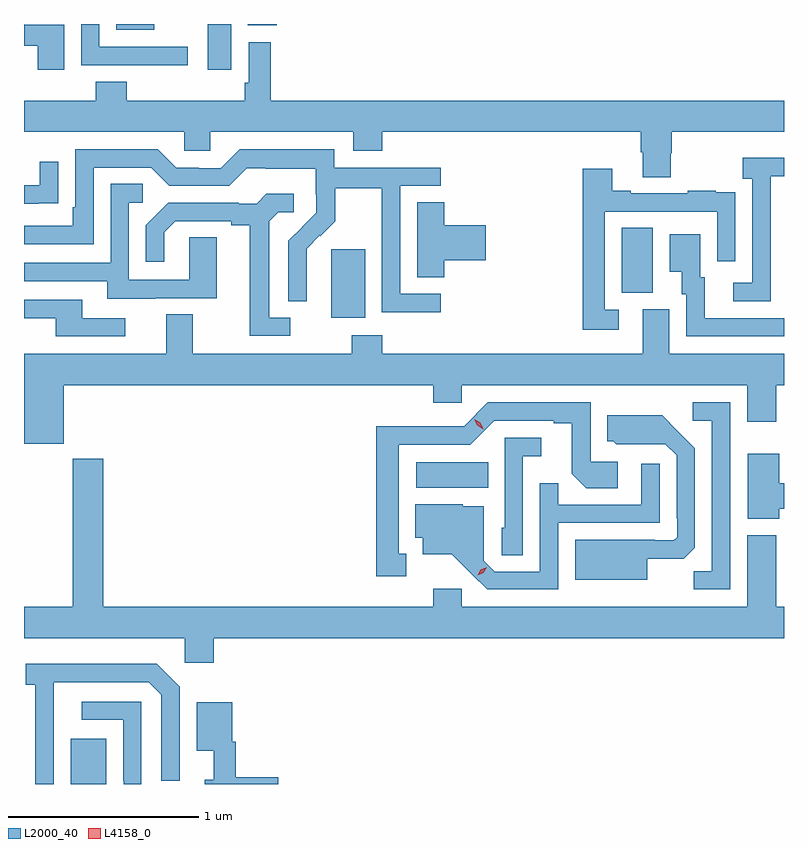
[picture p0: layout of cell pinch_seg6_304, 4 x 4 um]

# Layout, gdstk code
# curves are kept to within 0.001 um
import gdstk
lib = gdstk.Library(unit=1e-6, precision=1e-09)
def R(c, l, rs):  # rectangles x0, y0, x1, y1
    for r in rs: c.add(gdstk.rectangle(r[:2], r[2:], *l))
def P(c, l, *ps):  # polygons
    for p in ps: c.add(gdstk.Polygon(p, *l))
L2000_40 = (2000, 40)
L4158_0 = (4158, 0)

pinch_seg6_304 = lib.new_cell('pinch_seg6_304')
R(pinch_seg6_304, L2000_40, [(660.365,955.892,660.553,956.131), (662.184,957.452,662.564,957.586), (661.736,958.346,661.915,958.707), (663.266,958.477,663.43,958.82), (661.088,959.652,661.21,959.892), (660.605,959.861,660.805,959.892), (661.298,959.886,661.451,959.892)])
P(pinch_seg6_304, L2000_40, [(660.331,959.887),(660.121,959.887),(660.121,959.892),(660.12,959.892),(660.12,959.778),(660.193,959.778),(660.193,959.652),(660.331,959.652)],
  [(660.982,959.772),(660.516,959.772),(660.516,959.892),(660.42,959.892),(660.42,959.676),(660.745,959.676),(660.745,959.675),(660.982,959.675)],
  [(663.525,959.211),(663.53,959.211),(663.53,959.324),(664.12,959.324),(664.12,959.488),(661.418,959.488),(661.418,959.797),(661.302,959.797),(661.302,959.584),(661.282,959.584),(661.282,959.488),(660.662,959.488),(660.662,959.587),(660.497,959.587),(660.497,959.488),(660.12,959.488),(660.12,959.324),(660.963,959.324),(660.963,959.226),(661.101,959.226),(661.101,959.324),(661.853,959.324),(661.853,959.225),(662.006,959.225),(662.006,959.324),(663.365,959.324),(663.365,959.218),(663.377,959.218),(663.377,959.086),(663.525,959.086)],
  [(662.314,958.473),(662.1,958.473),(662.1,959.04),(662.314,959.04),(662.314,959.136),(661.752,959.136),(661.752,959.233),(661.255,959.233),(661.155,959.133),(661.04,959.133),(661.04,959.136),(660.921,959.136),(660.825,959.232),(660.39,959.232),(660.39,958.927),(660.377,958.927),(660.377,958.83),(660.12,958.83),(660.12,958.734),(660.486,958.734),(660.486,959.136),(660.789,959.136),(660.885,959.04),(661.2,959.04),(661.293,959.133),(661.393,959.133),(661.393,959.129),(661.656,959.129),(661.656,958.995),(661.658,958.995),(661.658,958.898),(661.512,958.75),(661.512,958.432),(661.608,958.432),(661.607,958.709),(661.677,958.779),(661.68,958.776),(661.757,958.853),(661.757,959.028),(662.002,959.028),(662.002,958.804),(662.004,958.804),(662.004,958.375),(662.314,958.375)],
  [(664.05,958.891),(664.051,958.891),(664.051,959.091),(664.12,959.091),(664.12,959.188),(663.903,959.188),(663.903,959.078),(663.954,959.078),(663.954,958.53),(663.852,958.53),(663.852,958.434),(664.05,958.434)],
  [(660.197,958.948),(660.299,958.948),(660.299,959.167),(660.203,959.167),(660.203,959.043),(660.12,959.043),(660.12,958.947),(660.197,958.947)],
  [(663.25,958.389),(663.177,958.389),(663.177,958.905),(663.768,958.905),(663.768,958.644),(663.864,958.644),(663.864,958.898),(663.863,958.898),(663.863,959.007),(663.761,959.007),(663.761,959.014),(663.613,959.014),(663.613,959.001),(663.313,959.001),(663.313,959.014),(663.217,959.014),(663.217,959.131),(663.061,959.131),(663.061,958.284),(663.25,958.284)],
  [(660.811,958.449),(661.135,958.449),(661.135,958.769),(660.99,958.769),(660.99,958.545),(660.672,958.545),(660.672,958.95),(660.745,958.95),(660.745,959.051),(660.576,959.051),(660.576,958.635),(660.12,958.635),(660.12,958.539),(660.557,958.539),(660.557,958.445),(660.811,958.445)],
  [(661.522,958.347),(661.411,958.347),(661.411,958.855),(661.458,958.902),(661.54,958.902),(661.54,958.999),(661.396,958.999),(661.344,958.947),(661.25,958.947),(661.25,958.95),(660.878,958.95),(660.762,958.834),(660.762,958.641),(660.859,958.641),(660.859,958.797),(660.916,958.854),(661.211,958.854),(661.211,958.832),(661.307,958.832),(661.307,958.251),(661.522,958.251)],
  [(662.333,958.649),(662.551,958.649),(662.551,958.832),(662.333,958.832),(662.333,958.955),(662.189,958.955),(662.189,958.558),(662.333,958.558)],
  [(664.12,958.344),(663.703,958.344),(663.703,958.56),(663.679,958.56),(663.679,958.786),(663.518,958.786),(663.518,958.589),(663.581,958.589),(663.581,958.47),(663.606,958.47),(663.606,958.248),(664.12,958.248)],
  [(660.652,958.344),(660.427,958.344),(660.427,958.44),(660.12,958.44),(660.12,958.344),(660.287,958.344),(660.287,958.248),(660.652,958.248)],
  [(660.328,957.992),(662.273,957.992),(662.273,957.899),(662.424,957.899),(662.424,957.992),(663.926,957.992),(663.926,957.798),(664.079,957.798),(664.079,957.992),(664.12,957.992),(664.12,958.156),(663.517,958.156),(663.517,958.392),(663.377,958.392),(663.377,958.156),(662.006,958.156),(662.006,958.255),(661.846,958.255),(661.846,958.156),(661.009,958.156),(661.009,958.364),(660.869,958.364),(660.869,958.156),(660.12,958.156),(660.12,957.683),(660.328,957.683)],
  [(663.837,957.9),(663.639,957.9),(663.639,957.804),(663.741,957.804),(663.741,957.011),(663.646,957.011),(663.646,956.916),(663.837,956.916)],
  [(662.131,957.105),(662.092,957.105),(662.092,957.678),(662.469,957.678),(662.595,957.804),(662.909,957.804),(662.909,957.792),(663.003,957.792),(663.003,957.524),(663.079,957.448),(663.244,957.448),(663.244,957.588),(663.102,957.588),(663.102,957.9),(662.562,957.9),(662.436,957.774),(662.214,957.774),(662.214,957.776),(661.974,957.776),(661.974,956.985),(662.131,956.985)],
  [(663.4,957.077),(663.592,957.077),(663.651,957.136),(663.651,957.658),(663.479,957.832),(663.191,957.832),(663.191,957.696),(663.222,957.696),(663.238,957.68),(663.495,957.681),(663.555,957.621),(663.555,957.292),(663.558,957.292),(663.558,957.192),(663.54,957.174),(663.44,957.174),(663.44,957.178),(663.02,957.178),(663.02,956.966),(663.4,956.966)],
  [(662.745,957.617),(662.842,957.617),(662.842,957.714),(662.649,957.714),(662.649,957.24),(662.634,957.24),(662.634,957.097),(662.745,957.097)],
  [(664.096,957.34),(664.12,957.34),(664.12,957.476),(664.096,957.476),(664.096,957.631),(663.929,957.631),(663.929,957.287),(664.096,957.287)],
  [(661.118,956.66),(664.12,956.66),(664.12,956.824),(664.079,956.824),(664.079,957.202),(663.926,957.202),(663.926,956.824),(662.424,956.824),(662.424,956.92),(662.273,956.92),(662.273,956.824),(660.536,956.824),(660.536,957.604),(660.376,957.604),(660.376,956.824),(660.12,956.824),(660.12,956.66),(660.966,956.66),(660.966,956.529),(661.118,956.529)],
  [(662.931,957.267),(663.465,957.267),(663.465,957.577),(663.369,957.577),(663.369,957.363),(662.933,957.363),(662.933,957.476),(662.835,957.476),(662.835,957.009),(662.598,957.009),(662.541,957.066),(662.541,957.355),(662.43,957.355),(662.43,957.364),(662.18,957.364),(662.18,957.188),(662.219,957.188),(662.219,957.101),(662.371,957.101),(662.558,956.916),(662.931,956.916)],
  [(660.276,956.227),(660.277,956.427),(660.777,956.427),(660.843,956.361),(660.843,955.908),(660.939,955.908),(660.939,956.403),(660.818,956.524),(660.129,956.524),(660.129,956.414),(660.18,956.414),(660.18,955.892),(660.276,955.892)],
  [(660.738,956.325),(660.423,956.325),(660.423,956.229),(660.642,956.229),(660.642,955.909),(660.645,955.909),(660.645,955.892),(660.738,955.892)],
  [(661.459,955.928),(661.235,955.928),(661.235,956.115),(661.216,956.115),(661.216,956.323),(661.028,956.323),(661.028,956.066),(661.118,956.066),(661.118,955.915),(661.07,955.915),(661.07,955.892),(661.459,955.892)])
P(pinch_seg6_304, L4158_0, [(662.507,956.99),(662.507,956.991),(662.525,957.02),(662.556,957.034),(662.556,957.034),(662.556,957.034),(662.538,957.005),(662.507,956.99)],
  [(662.537,957.76),(662.506,957.779),(662.489,957.812),(662.489,957.812),(662.489,957.812),(662.52,957.793),(662.537,957.76),(662.537,957.76)])

lib.write_gds('pinch_seg6_304.gds')
